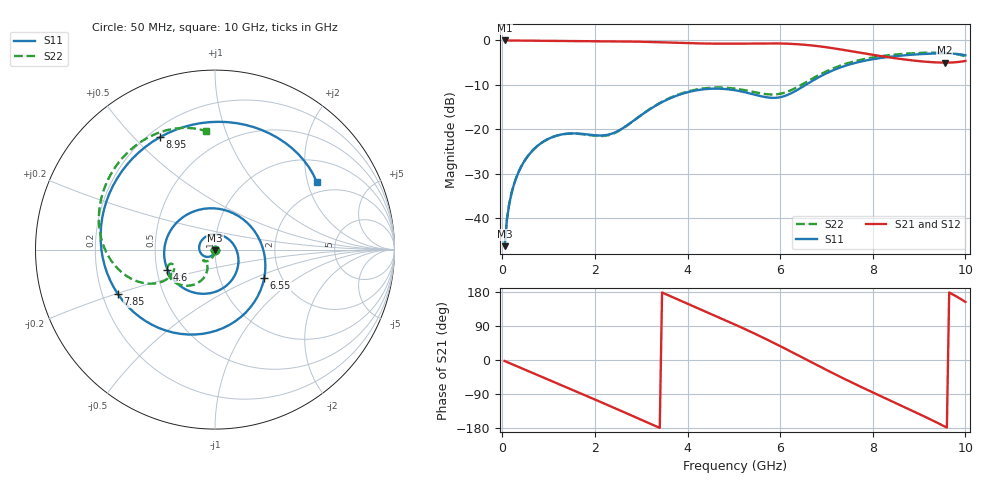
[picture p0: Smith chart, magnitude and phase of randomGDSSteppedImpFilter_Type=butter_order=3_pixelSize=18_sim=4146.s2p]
! freq	dB(S11)	phase(S11)	dB(S12)	phase(S12)
!  dB(S21)	phase(S21)	dB(S22)	phase(S22)
!S-par simulation data
#  GHz  S  DB  R 50
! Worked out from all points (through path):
!   200 points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, 50 MHz to 10 GHz, reference 50 ohm
!   highest |S21| = -0.01 dB at 50 MHz (marker M1); lowest = -5.0 dB at 9.55 GHz (marker M2)
!   group delay of S21, straight-line fit = 157 ps
!   lowest |S11| = -46.2 dB at 50 MHz (marker M3), VSWR 1.01, Z = 50 - j0.488 ohm
!   |S11| at or under -10 dB: start of sweep to 6.551 GHz
!   |S22| runs from -46.2 to -2.7 dB; largest |S21 - S12| = 0
!   S11 on the Smith chart (normalised r, x): 50 MHz: 1.00, -0.01; 4.6 GHz: 0.57, -0.14; 6.55 GHz: 1.63, -0.57; 7.85 GHz: 0.27, -0.20; 8.95 GHz: 0.24, +0.60; 10 GHz: 1.64, +2.29
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0.05  -46.23 -90.0  -0.01 -2.7  -0.01 -2.7  -46.20 -88.4
0.1  -40.22 -94.8  -0.01 -5.3  -0.01 -5.3  -40.19 -91.6
0.2  -34.30 -102.8  -0.02 -10.5  -0.02 -10.5  -34.26 -96.5
0.5  -26.76 -124.4  -0.05 -26.1  -0.05 -26.1  -26.72 -108.4
1.15  -21.47 -172.2  -0.10 -59.9  -0.10 -59.9  -21.47 -129.3
1.75  -21.02 133.8  -0.14 -91.1  -0.14 -91.1  -21.10 -137.9
2.2  -21.32 78.1  -0.17 -114.8  -0.17 -114.8  -21.45 -128.9
2.7  -19.05 8.9  -0.23 -141.5  -0.23 -141.5  -19.08 -112.2
3.4  -14.14 -62.9  -0.41 -179.2  -0.41 -179.2  -14.05 -115.6
3.95  -11.79 -107.1  -0.59 151.4  -0.59 151.4  -11.64 -129.8
4.6  -10.83 -157.3  -0.73 116.7  -0.73 116.7  -10.59 -148.3
5.05  -11.24 164.3  -0.73 92.2  -0.73 92.2  -10.87 -158.4
5.8  -12.88 77.2  -0.67 48.9  -0.67 48.9  -12.14 -159.0
6.2  -12.07 17.6  -0.75 24.2  -0.75 24.2  -11.34 -150.8
6.55  -10.00 -29.7  -0.99 2.1  -0.99 2.1  -9.44 -148.6
6.7  -9.06 -47.4  -1.14 -7.4  -1.14 -7.4  -8.55 -150.0
7.3  -6.07 -107.8  -2.01 -44.6  -2.01 -44.6  -5.66 -164.3
7.85  -4.51 -155.3  -2.98 -77.0  -2.98 -77.0  -4.11 177.7
8.35  -3.70 164.1  -3.80 -105.4  -3.80 -105.4  -3.32 160.7
8.95  -3.13 116.1  -4.60 -139.5  -4.60 -139.5  -2.84 139.8
9.55  -2.91 68.7  -4.99 -175.3  -4.99 -175.3  -2.81 116.7
10  -3.35 33.5  -4.61 153.2  -4.61 153.2  -3.59 94.3
